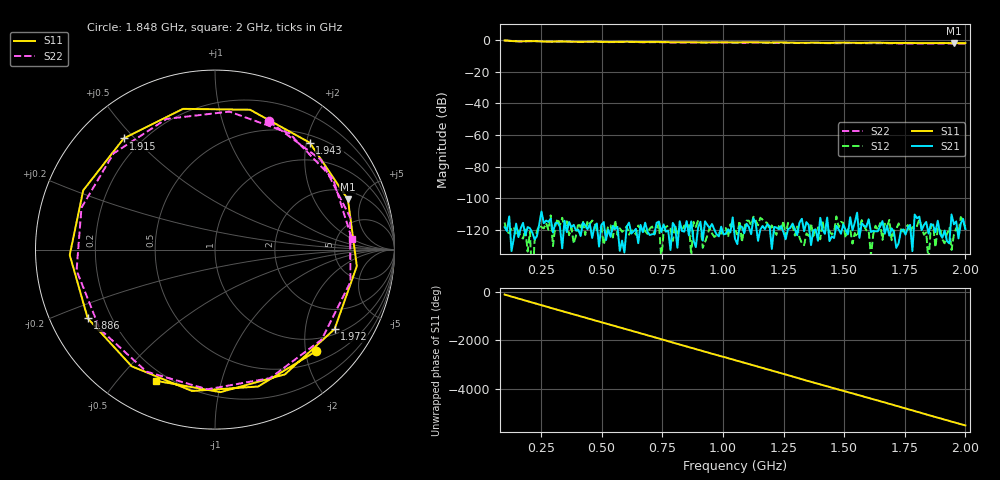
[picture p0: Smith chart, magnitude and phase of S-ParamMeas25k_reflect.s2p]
!Keysight Technologies,N5242B,MY48420967,A.15.65.19
!Date: Friday, December 16, 2022 19:11:40
!Correction: S11(C  2-Port  )
!S21(C  2-Port  )
!S12(C  2-Port  )
!S22(C  2-Port  )
!S2P File: Measurements: S11, S21, S12, S22:
# Hz S  dB  R 50
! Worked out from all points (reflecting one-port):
!   201 points, 100 MHz to 2 GHz, reference 50 ohm
!   lowest |S11| = -2.0 dB at 1.952 GHz (marker M1), VSWR 8.59, Z = 129 + j192 ohm
!   phase of S11 starts at -101 deg and turns -5413 deg over the sweep
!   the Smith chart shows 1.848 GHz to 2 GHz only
!   S11 on the Smith chart (normalised r, x): 1.848 GHz: 0.71, -2.20; 1.886 GHz: 0.11, -0.25; 1.915 GHz: 0.13, +0.47; 1.943 GHz: 0.63, +2.06; 1.972 GHz: 1.17, -2.88; 2 GHz: 0.16, -0.64
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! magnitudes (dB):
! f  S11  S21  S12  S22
! 100 MHz  -0.3  -118.2  -115.2  -0.3
! 157 MHz  -0.8  -124.5  -120.3  -0.8
! 223.5 MHz  -0.7  -125.9  -127.0  -0.7
! 290 MHz  -1.0  -112.8  -110.7  -1.1
! 347 MHz  -0.9  -114.1  -119.2  -0.9
! 423 MHz  -1.1  -115.2  -114.4  -1.2
! 736.5 MHz  -1.2  -114.7  -115.3  -1.3
! 784 MHz  -1.4  -132.7  -119.3  -1.5
! 841 MHz  -1.3  -121.1  -117.2  -1.5
! 907.5 MHz  -1.5  -114.8  -117.0  -1.6
! 1.05 GHz  -1.5  -125.6  -119.9  -1.7
! 1.107 GHz  -1.4  -118.1  -114.2  -1.6
! 1.373 GHz  -1.7  -120.3  -123.9  -1.8
! 1.639 GHz  -1.6  -120.8  -119.8  -2.0
! 1.687 GHz  -1.9  -123.6  -113.7  -2.0
! 1.848 GHz  -2.0  -122.4  -141.1  -2.2
! 1.886 GHz  -1.9  -114.2  -119.0  -2.2
! 1.915 GHz  -1.9  -120.4  -128.5  -2.2
! 1.943 GHz  -2.0  -110.3  -132.7  -2.2
! 1.952 GHz  -2.0  -116.4  -123.1  -2.2
! 1.972 GHz  -1.9  -125.4  -121.7  -2.2
! 2 GHz  -1.9  -119.5  -119.2  -2.3
